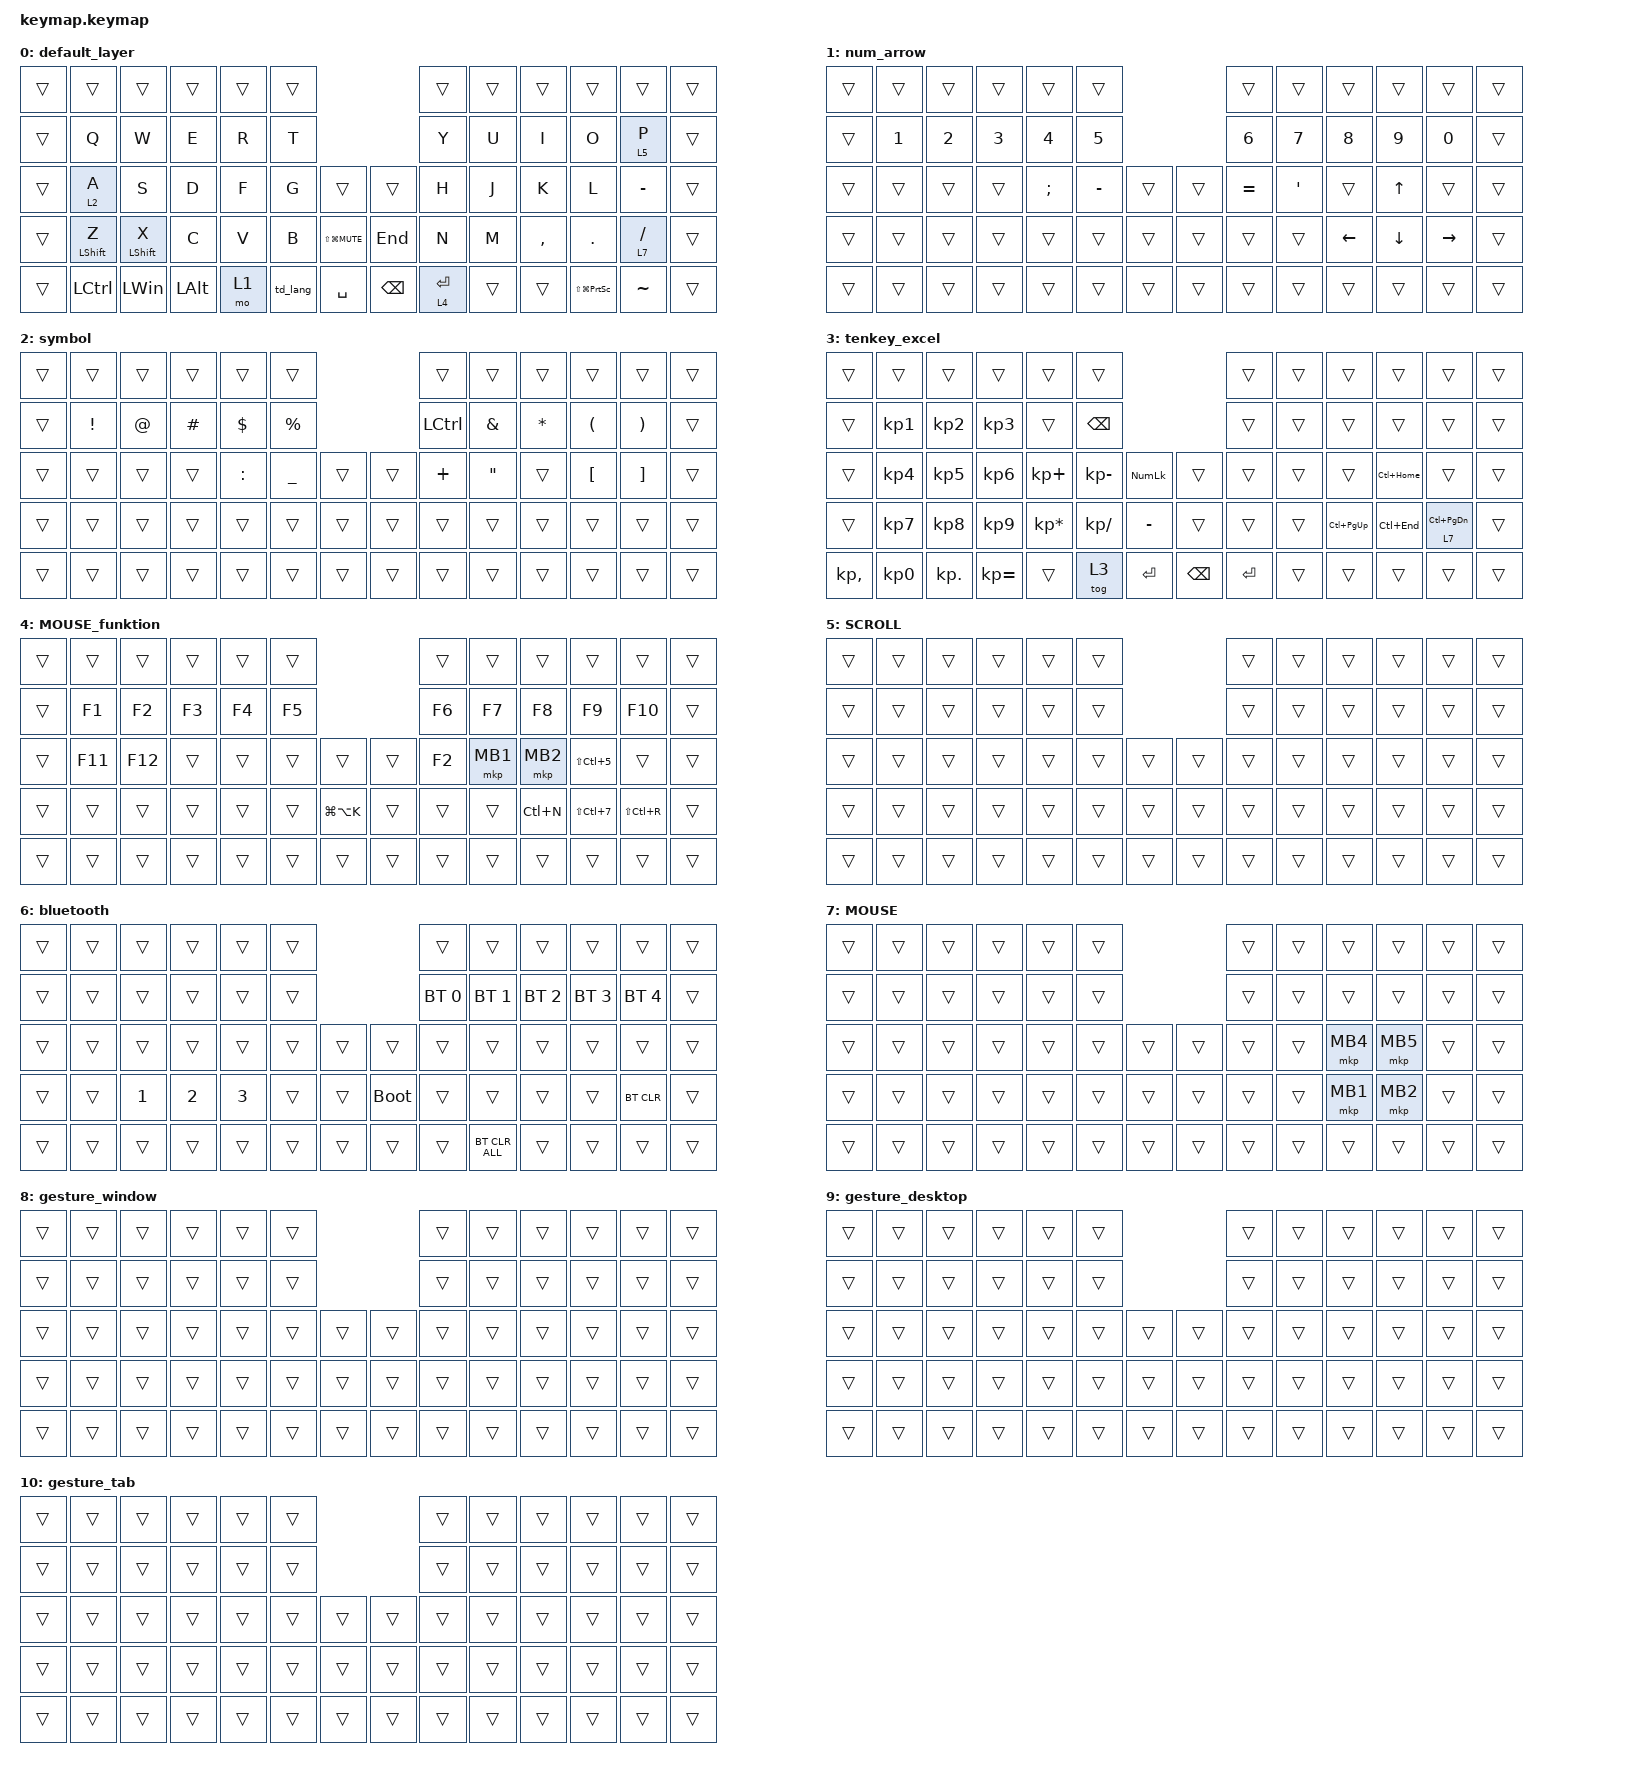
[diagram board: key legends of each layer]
#include <behaviors.dtsi>
#include <dt-bindings/zmk/bt.h>
#include <dt-bindings/zmk/keys.h>
#include <dt-bindings/zmk/pointing.h>

&mt {
    flavor = "balanced";
    quick-tap-ms = <0>;
};

/ {
    combos {
        compatible = "zmk,combos";

        tab {
            bindings = <&kp TAB>;
            key-positions = <13 14>;
        };

        shift_tab {
            bindings = <&kp LS(TAB)>;
            key-positions = <25 26>;
        };

        bluetooth {
            bindings = <&mo 6>;
            key-positions = <58 59>;
        };

        to_L8 {
            bindings = <&mo 8>;
            key-positions = <21 22>;
        };

        to_L9 {
            bindings = <&lt 9 LC(LG(RIGHT_ARROW))>;
            key-positions = <35 36>;
        };

        to_L10 {
            bindings = <&mo 10>;
            key-positions = <49 50>;
        };

        mb_for_drug {
            bindings = <&mkp MB1>;
            key-positions = <34 35>;
        };

        delete {
            bindings = <&kp DELETE>;
            key-positions = <59 45>;
        };

        esc {
            bindings = <&kp ESCAPE>;
            key-positions = <14 15>;
        };
    };

    macros {
        to_layer_0: to_layer_0 {
            compatible = "zmk,behavior-macro-one-param";
            #binding-cells = <1>;
            bindings = <&to 0 &macro_param_1to1 &kp MACRO_PLACEHOLDER>;
            label = "TO_LAYER_0";
        };
    };

    behaviors {
        lt_to_layer_0: lt_to_layer_0 {
            compatible = "zmk,behavior-hold-tap";
            label = "LAYER_TAP_TO_0";
            bindings = <&mo>, <&to_layer_0>;

            #binding-cells = <2>;
            tapping-term-ms = <200>;
        };

        td_lang: td_lang {
            compatible = "zmk,behavior-tap-dance";
            label = "TD_LANG";
            #binding-cells = <0>;
            bindings = <&lt 3 LANGUAGE_2>, <&kp LANGUAGE_1>;

            tapping-term-ms = <200>;
        };

        lt_layer: lt_layer {
            compatible = "zmk,behavior-hold-tap";
            label = "LT_LAYER";
            #binding-cells = <2>;
            bindings = <&mo>, <&tog>;

            tapping-term-ms = <200>;
            flavor = "balanced";
        };
    };

    keymap {
        compatible = "zmk,keymap";

        default_layer {
            bindings = <
&trans  &trans            &trans            &trans    &trans  &trans                                       &trans       &trans  &trans     &trans                   &trans       &trans
&trans  &kp Q             &kp W             &kp E     &kp R   &kp T                                        &kp Y        &kp U   &kp I      &kp O                    &lt 5 P      &trans
&trans  &lt 2 A           &kp S             &kp D     &kp F   &kp G     &trans              &trans         &kp H        &kp J   &kp K      &kp L                    &kp MINUS    &trans
&trans  &mt LEFT_SHIFT Z  &mt LEFT_SHIFT X  &kp C     &kp V   &kp B     &kp LS(LG(C_MUTE))  &kp END        &kp N        &kp M   &kp COMMA  &kp DOT                  &lt 7 SLASH  &trans
&trans  &kp LCTRL         &kp LEFT_WIN      &kp LALT  &mo 1   &td_lang  &kp SPACE           &kp BACKSPACE  &lt 4 ENTER  &trans  &trans     &kp LS(LG(PRINTSCREEN))  &kp TILDE    &trans
            >;
        };

        num_arrow {
            bindings = <
&trans  &trans  &trans  &trans  &trans         &trans                     &trans     &trans   &trans          &trans          &trans           &trans
&trans  &kp N1  &kp N2  &kp N3  &kp N4         &kp N5                     &kp N6     &kp N7   &kp N8          &kp N9          &kp N0           &trans
&trans  &trans  &trans  &trans  &kp SEMICOLON  &kp MINUS  &trans  &trans  &kp EQUAL  &kp SQT  &trans          &kp UP_ARROW    &trans           &trans
&trans  &trans  &trans  &trans  &trans         &trans     &trans  &trans  &trans     &trans   &kp LEFT_ARROW  &kp DOWN_ARROW  &kp RIGHT_ARROW  &trans
&trans  &trans  &trans  &trans  &trans         &trans     &trans  &trans  &trans     &trans   &trans          &trans          &trans           &trans
            >;
        };

        symbol {
            bindings = <
&trans  &trans           &trans       &trans    &trans      &trans                          &trans     &trans             &trans        &trans                &trans                 &trans
&trans  &kp EXCLAMATION  &kp AT_SIGN  &kp HASH  &kp DOLLAR  &kp PERCENT                     &kp LCTRL  &kp AMPERSAND      &kp ASTERISK  &kp LEFT_PARENTHESIS  &kp RIGHT_PARENTHESIS  &trans
&trans  &trans           &trans       &trans    &kp COLON   &kp UNDERSCORE  &trans  &trans  &kp PLUS   &kp DOUBLE_QUOTES  &trans        &kp LEFT_BRACKET      &kp RIGHT_BRACKET      &trans
&trans  &trans           &trans       &trans    &trans      &trans          &trans  &trans  &trans     &trans             &trans        &trans                &trans                 &trans
&trans  &trans           &trans       &trans    &trans      &trans          &trans  &trans  &trans     &trans             &trans        &trans                &trans                 &trans
            >;
        };

        tenkey_excel {
            bindings = <
&trans        &trans           &trans           &trans           &trans           &trans                                        &trans     &trans  &trans           &trans        &trans               &trans
&trans        &kp KP_NUMBER_1  &kp KP_NUMBER_2  &kp KP_NUMBER_3  &trans           &kp BACKSPACE                                 &trans     &trans  &trans           &trans        &trans               &trans
&trans        &kp KP_NUMBER_4  &kp KP_NUMBER_5  &kp KP_NUMBER_6  &kp KP_PLUS      &kp KP_MINUS   &kp KP_NUMLOCK  &trans         &trans     &trans  &trans           &kp LC(HOME)  &trans               &trans
&trans        &kp KP_NUMBER_7  &kp KP_NUMBER_8  &kp KP_NUMBER_9  &kp KP_MULTIPLY  &kp KP_SLASH   &kp MINUS       &trans         &trans     &trans  &kp LC(PAGE_UP)  &kp LC(END)   &lt 7 LC(PAGE_DOWN)  &trans
&kp KP_COMMA  &kp KP_NUMBER_0  &kp KP_DOT       &kp KP_EQUAL     &trans           &tog 3         &kp ENTER       &kp BACKSPACE  &kp ENTER  &trans  &trans           &trans        &trans               &trans
            >;
        };

        MOUSE_funktion {
            bindings = <
&trans  &trans   &trans   &trans  &trans  &trans                         &trans  &trans    &trans     &trans          &trans         &trans
&trans  &kp F1   &kp F2   &kp F3  &kp F4  &kp F5                         &kp F6  &kp F7    &kp F8     &kp F9          &kp F10        &trans
&trans  &kp F11  &kp F12  &trans  &trans  &trans  &trans         &trans  &kp F2  &mkp MB1  &mkp MB2   &kp LS(LC(N5))  &trans         &trans
&trans  &trans   &trans   &trans  &trans  &trans  &kp LG(LA(K))  &trans  &trans  &trans    &kp LC(N)  &kp LS(LC(N7))  &kp LS(LC(R))  &trans
&trans  &trans   &trans   &trans  &trans  &trans  &trans         &trans  &trans  &trans    &trans     &trans          &trans         &trans
            >;
        };

        SCROLL {
            bindings = <
&trans  &trans  &trans  &trans  &trans  &trans                  &trans  &trans  &trans  &trans  &trans  &trans
&trans  &trans  &trans  &trans  &trans  &trans                  &trans  &trans  &trans  &trans  &trans  &trans
&trans  &trans  &trans  &trans  &trans  &trans  &trans  &trans  &trans  &trans  &trans  &trans  &trans  &trans
&trans  &trans  &trans  &trans  &trans  &trans  &trans  &trans  &trans  &trans  &trans  &trans  &trans  &trans
&trans  &trans  &trans  &trans  &trans  &trans  &trans  &trans  &trans  &trans  &trans  &trans  &trans  &trans
            >;
        };

        bluetooth {
            bindings = <
&trans  &trans  &trans        &trans        &trans        &trans                       &trans        &trans          &trans        &trans        &trans        &trans
&trans  &trans  &trans        &trans        &trans        &trans                       &bt BT_SEL 0  &bt BT_SEL 1    &bt BT_SEL 2  &bt BT_SEL 3  &bt BT_SEL 4  &trans
&trans  &trans  &trans        &trans        &trans        &trans  &trans  &trans       &trans        &trans          &trans        &trans        &trans        &trans
&trans  &trans  &kp NUMBER_1  &kp NUMBER_2  &kp NUMBER_3  &trans  &trans  &bootloader  &trans        &trans          &trans        &trans        &bt BT_CLR    &trans
&trans  &trans  &trans        &trans        &trans        &trans  &trans  &trans       &trans        &bt BT_CLR_ALL  &trans        &trans        &trans        &trans
            >;
        };

        MOUSE {
            bindings = <
&trans  &trans  &trans  &trans  &trans  &trans                  &trans  &trans  &trans    &trans    &trans  &trans
&trans  &trans  &trans  &trans  &trans  &trans                  &trans  &trans  &trans    &trans    &trans  &trans
&trans  &trans  &trans  &trans  &trans  &trans  &trans  &trans  &trans  &trans  &mkp MB4  &mkp MB5  &trans  &trans
&trans  &trans  &trans  &trans  &trans  &trans  &trans  &trans  &trans  &trans  &mkp MB1  &mkp MB2  &trans  &trans
&trans  &trans  &trans  &trans  &trans  &trans  &trans  &trans  &trans  &trans  &trans    &trans    &trans  &trans
            >;
        };

        gesture_window {
            bindings = <
&trans  &trans  &trans  &trans  &trans  &trans                  &trans  &trans  &trans  &trans  &trans  &trans
&trans  &trans  &trans  &trans  &trans  &trans                  &trans  &trans  &trans  &trans  &trans  &trans
&trans  &trans  &trans  &trans  &trans  &trans  &trans  &trans  &trans  &trans  &trans  &trans  &trans  &trans
&trans  &trans  &trans  &trans  &trans  &trans  &trans  &trans  &trans  &trans  &trans  &trans  &trans  &trans
&trans  &trans  &trans  &trans  &trans  &trans  &trans  &trans  &trans  &trans  &trans  &trans  &trans  &trans
            >;
        };

        gesture_desktop {
            bindings = <
&trans  &trans  &trans  &trans  &trans  &trans                  &trans  &trans  &trans  &trans  &trans  &trans
&trans  &trans  &trans  &trans  &trans  &trans                  &trans  &trans  &trans  &trans  &trans  &trans
&trans  &trans  &trans  &trans  &trans  &trans  &trans  &trans  &trans  &trans  &trans  &trans  &trans  &trans
&trans  &trans  &trans  &trans  &trans  &trans  &trans  &trans  &trans  &trans  &trans  &trans  &trans  &trans
&trans  &trans  &trans  &trans  &trans  &trans  &trans  &trans  &trans  &trans  &trans  &trans  &trans  &trans
            >;
        };

        gesture_tab {
            bindings = <
&trans  &trans  &trans  &trans  &trans  &trans                  &trans  &trans  &trans  &trans  &trans  &trans
&trans  &trans  &trans  &trans  &trans  &trans                  &trans  &trans  &trans  &trans  &trans  &trans
&trans  &trans  &trans  &trans  &trans  &trans  &trans  &trans  &trans  &trans  &trans  &trans  &trans  &trans
&trans  &trans  &trans  &trans  &trans  &trans  &trans  &trans  &trans  &trans  &trans  &trans  &trans  &trans
&trans  &trans  &trans  &trans  &trans  &trans  &trans  &trans  &trans  &trans  &trans  &trans  &trans  &trans
            >;
        };
    };
};
